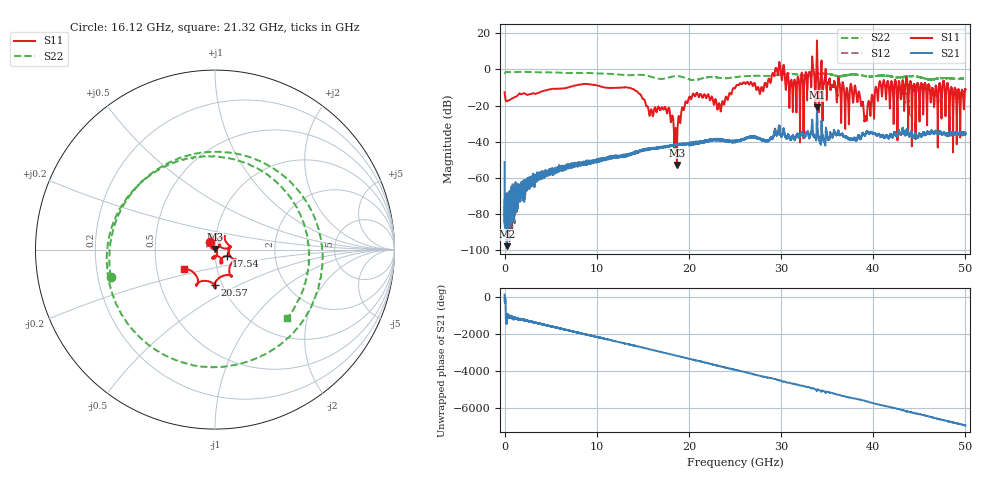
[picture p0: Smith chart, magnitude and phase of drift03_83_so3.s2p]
!Created with skrf (http://scikit-rf.org).
# Hz S RI R 50.0
!freq ReS11 ImS11 ReS21 ImS21 ReS12 ImS12 ReS22 ImS22
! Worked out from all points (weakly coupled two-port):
!   10001 points, 300 kHz to 50 GHz, reference 50 ohm
!   highest |S21| = -21.07 dB at 33.9 GHz (marker M1); lowest = -98.0 dB at 250.3 MHz (marker M2)
!   lowest |S11| = -52.9 dB at 18.7 GHz (marker M3), VSWR 1.00, Z = 50 + j0.227 ohm
!   |S11| at or under -10 dB: start of sweep to 6.944 GHz; 13.32 GHz to 25.04 GHz (11.73 GHz wide, 61.1 % of centre); 38.07 GHz to 40.25 GHz (2.175 GHz wide, 5.55 % of centre) (the widest 3 of 50)
!   |S22| runs from -5.9 to -1.3 dB; largest |S21 - S12| = 0.0081
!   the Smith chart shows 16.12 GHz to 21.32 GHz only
!   S11 on the Smith chart (normalised r, x): 16.12 GHz: 0.94, +0.08; 17.54 GHz: 1.14, -0.08; 20.57 GHz: 0.92, -0.38; 21.32 GHz: 0.69, -0.16
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300000  -0.2081 -0.1029  -0.00207 0.00176  -8.73e-05 0.000244  -0.7677 -0.2012
2.502985e8  -0.1095 0.0738  -4.71e-06 1.17e-05  8.85e-05 0.000235  -0.743 0.407
1.535291e9  0.2049 0.0437  -0.000188 -0.000349  -5.18e-05 -0.000624  0.8489 0.0785
3.160281e9  -0.2186 -0.00847  0.000146 0.000928  6.51e-05 0.000962  -0.8445 -0.0259
4.665272e9  0.2636 0.0615  -4.7e-05 -0.00136  -0.000101 -0.00139  0.8191 0.1432
6.360262e9  -0.2998 4.61e-05  0.000752 0.00195  0.000532 0.00197  -0.8039 -0.0456
8.33525e9  0.2843 -0.2671  -0.0024 -0.000833  -0.00225 -0.000829  0.6037 -0.534
9.575243e9  -0.3716 -0.0486  0.00143 0.00249  0.00128 0.00245  -0.7866 -0.0981
1.124523e10  0.3059 0.0237  -0.00223 -0.00281  -0.00224 -0.00254  0.7583 0.0227
1.61202e10  -0.0301 0.0426  0.00596 0.00214  0.00596 0.00182  -0.581 -0.1505
1.66702e10  0.0536 0.0754  0.00465 -0.00493  0.00454 -0.00475  -0.365 0.4155
1.753519e10  0.0649 -0.0352  -0.00631 -0.00384  -0.00625 -0.00377  0.4964 0.285
1.869519e10  9.56e-06 0.00227  0.00226 0.00777  0.00269 0.00784  -0.0871 -0.6496
2.056518e10  -0.00255 -0.1961  -0.00778 -0.00403  -0.00807 -0.00434  0.3635 0.3562
2.131517e10  -0.1707 -0.109  -0.00555 0.0084  -0.00536 0.00773  0.4026 -0.3789
2.500015e10  -0.297 -0.0491  0.00801 0.00639  0.00765 0.00674  -0.1778 -0.5853
3.052012e10  0.2296 -0.1461  -0.00166 0.013  -0.00182 0.0126  0.7455 -0.0648
3.214011e10  0.1988 0.428  -0.000191 -0.015  -0.000528 -0.0154  -0.6998 0.0152
3.33351e10  0.4604 -0.9934  -0.00564 0.0238  -0.00574 0.0241  0.6104 0.3718
3.38951e10  -0.525 -6.35  0.0879 0.00901  0.0833 0.0102  0.6825 -0.3115
4.167005e10  -0.2287 0.28  -0.0122 -0.00434  -0.0115 -0.00503  -0.6566 -0.0625
5e10  -0.1392 -0.2473  0.00114 -0.0173  0.000966 -0.0164  0.4753 -0.3095
